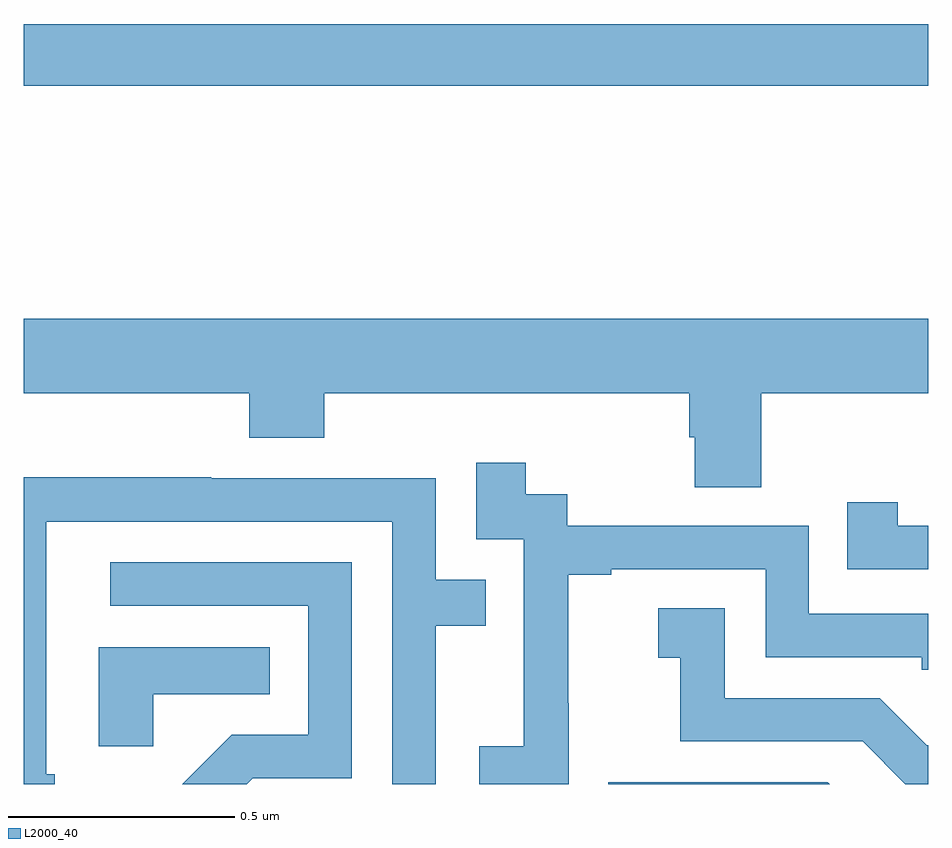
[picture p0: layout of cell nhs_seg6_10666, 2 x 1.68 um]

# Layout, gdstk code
import gdstk
lib = gdstk.Library(unit=1e-6, precision=1e-09)
def R(c, l, rs):  # rectangles x0, y0, x1, y1
    for r in rs: c.add(gdstk.rectangle(r[:2], r[2:], *l))
def P(c, l, *ps):  # polygons
    for p in ps: c.add(gdstk.Polygon(p, *l))
L2000_40 = (2000, 40)

nhs_seg6_10666 = lib.new_cell('nhs_seg6_10666')
R(nhs_seg6_10666, L2000_40, [(250,920.044,252,920.18)])
P(nhs_seg6_10666, L2000_40, [(251.631,919.364),(252,919.364),(252,919.528),(250,919.528),(250,919.364),(250.499,919.364),(250.499,919.265),(250.664,919.265),(250.664,919.364),(251.471,919.364),(251.471,919.266),(251.483,919.266),(251.483,919.156),(251.631,919.156)],
  [(251.205,918.679),(251.204,918.679),(251.204,918.963),(251.299,918.963),(251.299,918.975),(251.64,918.975),(251.64,918.78),(251.985,918.78),(251.985,918.753),(252,918.753),(252,918.876),(251.736,918.876),(251.736,919.071),(251.202,919.071),(251.202,919.14),(251.11,919.14),(251.11,919.21),(251.001,919.21),(251.001,919.041),(251.106,919.041),(251.106,918.812),(251.105,918.812),(251.105,918.583),(251.007,918.583),(251.007,918.5),(251.205,918.5)],
  [(250.069,918.522),(250.05,918.522),(250.05,919.08),(250.815,919.08),(250.815,918.5),(250.911,918.5),(250.911,918.85),(251.021,918.85),(251.021,918.951),(250.911,918.951),(250.911,919.176),(250.415,919.176),(250.415,919.178),(250,919.178),(250,918.5),(250.069,918.5)],
  [(252,919.071),(251.932,919.071),(251.932,919.123),(251.821,919.123),(251.821,918.975),(252,918.975)],
  [(250.506,918.513),(250.725,918.513),(250.725,918.99),(250.191,918.99),(250.191,918.894),(250.629,918.894),(250.629,918.609),(250.46,918.609),(250.351,918.5),(250.493,918.5)],
  [(252,918.586),(251.996,918.586),(251.892,918.69),(251.55,918.69),(251.55,918.889),(251.403,918.889),(251.403,918.779),(251.452,918.779),(251.452,918.594),(251.855,918.594),(251.949,918.5),(252,918.5)],
  [(250.287,918.698),(250.544,918.698),(250.544,918.802),(250.166,918.802),(250.166,918.583),(250.287,918.583)],
  [(251.778,918.504),(251.292,918.504),(251.292,918.5),(251.782,918.5)])

lib.write_gds('nhs_seg6_10666.gds')
